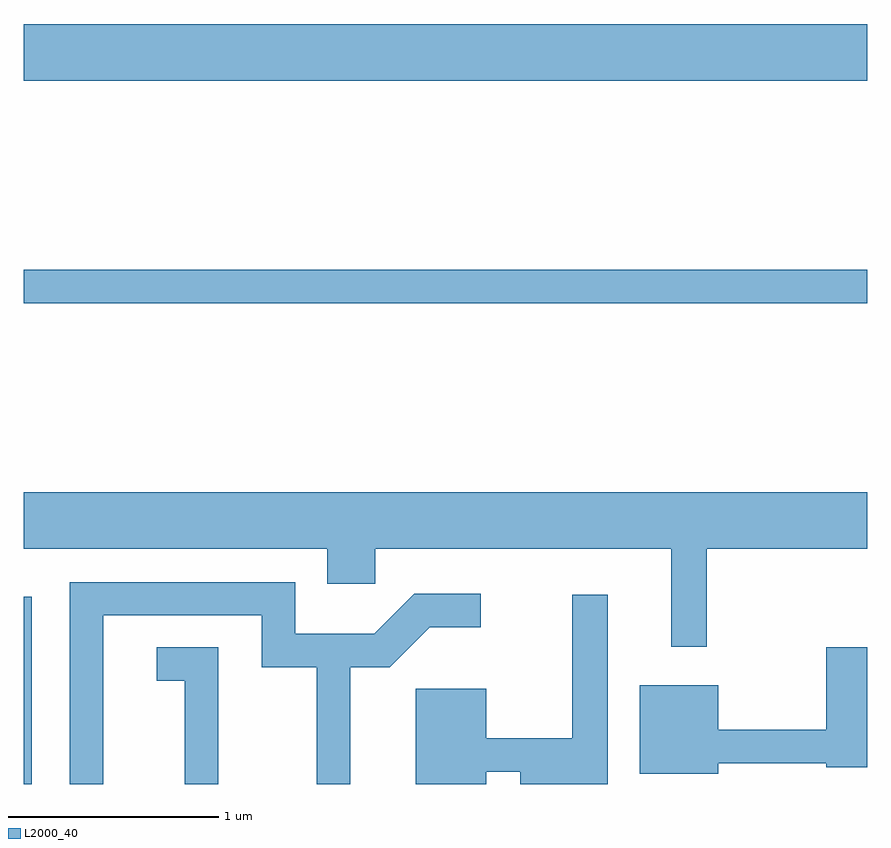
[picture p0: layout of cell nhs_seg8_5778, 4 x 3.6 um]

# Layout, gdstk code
import gdstk
lib = gdstk.Library(unit=1e-6, precision=1e-09)
def R(c, l, rs):  # rectangles x0, y0, x1, y1
    for r in rs: c.add(gdstk.rectangle(r[:2], r[2:], *l))
def P(c, l, *ps):  # polygons
    for p in ps: c.add(gdstk.Polygon(p, *l))
L2000_40 = (2000, 40)

nhs_seg8_5778 = lib.new_cell('nhs_seg8_5778')
R(nhs_seg8_5778, L2000_40, [(357.611,1906.342,357.649,1907.229), (357.611,1908.621,361.611,1908.779), (357.611,1909.676,361.611,1909.944)])
P(nhs_seg8_5778, L2000_40, [(360.849,1907.456),(361.611,1907.456),(361.611,1907.724),(357.611,1907.724),(357.611,1907.456),(359.051,1907.456),(359.051,1907.291),(359.279,1907.291),(359.279,1907.456),(360.681,1907.456),(360.681,1906.993),(360.849,1906.993)],
  [(357.989,1907.141),(358.741,1907.141),(358.741,1906.896),(359.001,1906.896),(359.001,1906.342),(359.159,1906.342),(359.159,1906.896),(359.347,1906.896),(359.537,1907.086),(359.778,1907.086),(359.778,1907.244),(359.464,1907.244),(359.274,1907.054),(358.899,1907.054),(358.899,1907.299),(357.831,1907.299),(357.831,1906.342),(357.989,1906.342)],
  [(359.804,1906.401),(359.966,1906.401),(359.966,1906.342),(360.379,1906.342),(360.379,1907.238),(360.211,1907.238),(360.211,1906.559),(359.804,1906.559),(359.804,1906.794),(359.471,1906.794),(359.471,1906.342),(359.804,1906.342)],
  [(360.904,1906.441),(361.416,1906.441),(361.416,1906.421),(361.611,1906.421),(361.611,1906.989),(361.416,1906.989),(361.416,1906.599),(360.904,1906.599),(360.904,1906.809),(360.531,1906.809),(360.531,1906.391),(360.904,1906.391)],
  [(358.534,1906.989),(358.243,1906.989),(358.243,1906.831),(358.376,1906.831),(358.376,1906.342),(358.534,1906.342)])

lib.write_gds('nhs_seg8_5778.gds')
